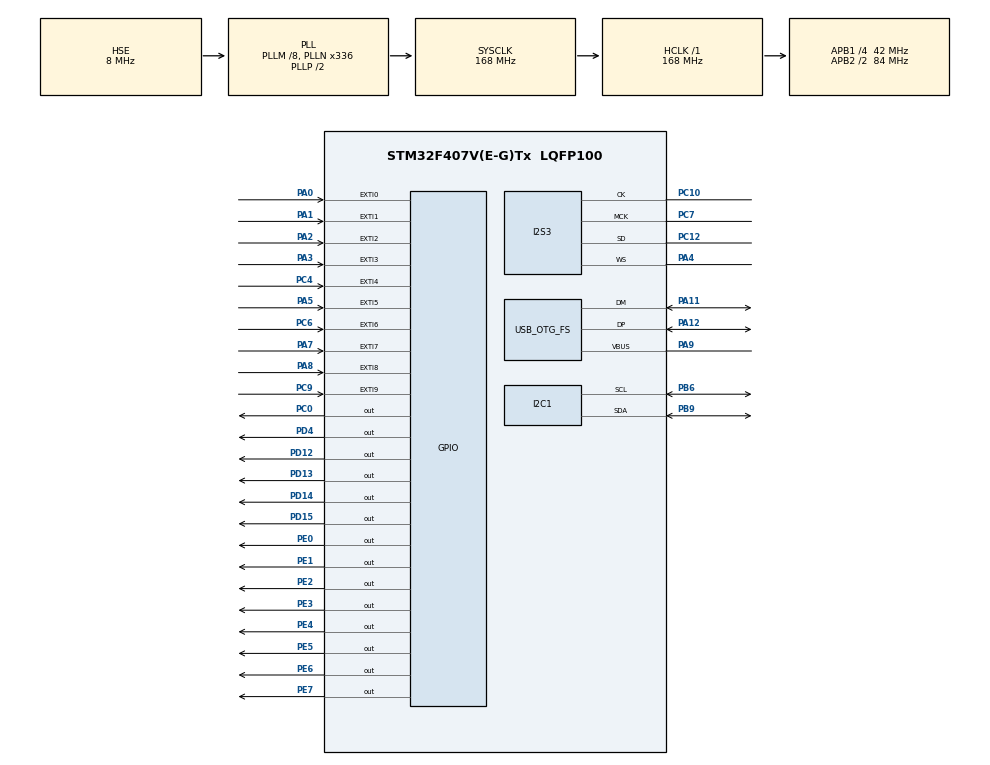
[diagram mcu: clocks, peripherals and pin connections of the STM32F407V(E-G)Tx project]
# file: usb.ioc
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Dma.Request0=SPI3_TX
Dma.SPI3_TX.0.Direction=DMA_MEMORY_TO_PERIPH
Dma.SPI3_TX.0.FIFOMode=DMA_FIFOMODE_ENABLE
Dma.SPI3_TX.0.FIFOThreshold=DMA_FIFO_THRESHOLD_FULL
Dma.SPI3_TX.0.Instance=DMA1_Stream5
Dma.SPI3_TX.0.MemBurst=DMA_MBURST_SINGLE
Dma.SPI3_TX.0.MemDataAlignment=DMA_MDATAALIGN_HALFWORD
Dma.SPI3_TX.0.MemInc=DMA_MINC_ENABLE
Dma.SPI3_TX.0.Mode=DMA_CIRCULAR
Dma.SPI3_TX.0.PeriphBurst=DMA_PBURST_SINGLE
Dma.SPI3_TX.0.PeriphDataAlignment=DMA_PDATAALIGN_HALFWORD
Dma.SPI3_TX.0.PeriphInc=DMA_PINC_DISABLE
Dma.SPI3_TX.0.Priority=DMA_PRIORITY_LOW
FATFS._FS_EXFAT=1
FATFS._MAX_SS=4096
FATFS._USE_LFN=1
I2S3.AudioFreq=I2S_AUDIOFREQ_44K
I2S3.ErrorAudioFreq=0.24 %
I2S3.FullDuplexMode=I2S_FULLDUPLEXMODE_DISABLE
I2S3.Instance=SPI$Index
I2S3.RealAudioFreq=44.108 KHz
I2S3.VirtualMode=I2S_MODE_MASTER
Mcu.Family=STM32F4
Mcu.Name=STM32F407V(E-G)Tx
Mcu.Package=LQFP100
NVIC.DMA1_Stream5_IRQn=true\:0\:0\:false\:false\:true\:false\:true\:true
NVIC.EXTI0_IRQn=true\:0\:0\:false\:false\:true\:true\:true\:true
NVIC.EXTI1_IRQn=true\:0\:0\:false\:false\:true\:true\:true\:true
NVIC.EXTI2_IRQn=true\:0\:0\:false\:false\:true\:true\:true\:true
NVIC.EXTI3_IRQn=true\:0\:0\:false\:false\:true\:true\:true\:true
NVIC.EXTI4_IRQn=true\:0\:0\:false\:false\:true\:true\:true\:true
NVIC.EXTI9_5_IRQn=true\:0\:0\:false\:false\:true\:true\:true\:true
NVIC.OTG_FS_IRQn=true\:0\:0\:false\:false\:true\:false\:true\:true
NVIC.PriorityGroup=NVIC_PRIORITYGROUP_4
NVIC.TIM6_DAC_IRQn=true\:0\:0\:false\:false\:true\:true\:true\:true
PA0-WKUP.GPIO_PuPd=GPIO_NOPULL
PA0-WKUP.Signal=GPXTI0
PA1.GPIO_PuPd=GPIO_PULLDOWN
PA1.Signal=GPXTI1
PA11.Mode=Host_Only
PA11.Signal=USB_OTG_FS_DM
PA12.Mode=Host_Only
PA12.Signal=USB_OTG_FS_DP
PA13.Mode=Trace_Asynchronous_SW
PA13.Signal=SYS_JTMS-SWDIO
PA14.Mode=Trace_Asynchronous_SW
PA14.Signal=SYS_JTCK-SWCLK
PA2.GPIO_PuPd=GPIO_PULLDOWN
PA2.Signal=GPXTI2
PA3.GPIO_PuPd=GPIO_PULLDOWN
PA3.Signal=GPXTI3
PA4.Mode=Half_Duplex_Master
PA4.Signal=I2S3_WS
PA5.GPIO_PuPd=GPIO_PULLDOWN
PA5.Signal=GPXTI5
PA7.GPIO_PuPd=GPIO_PULLDOWN
PA7.Signal=GPXTI7
PA8.GPIO_PuPd=GPIO_PULLDOWN
PA8.Signal=GPXTI8
PA9.Mode=Activate_VBUS
PA9.Signal=USB_OTG_FS_VBUS
PB3.Mode=Trace_Asynchronous_SW
PB3.Signal=SYS_JTDO-SWO
PB6.Mode=I2C
PB6.Signal=I2C1_SCL
PB9.Mode=I2C
PB9.Signal=I2C1_SDA
PC0.Signal=GPIO_Output
PC10.Mode=Half_Duplex_Master
PC10.Signal=I2S3_CK
PC12.Mode=Half_Duplex_Master
PC12.Signal=I2S3_SD
PC4.GPIO_PuPd=GPIO_PULLDOWN
PC4.Signal=GPXTI4
PC6.GPIO_PuPd=GPIO_PULLDOWN
PC6.Signal=GPXTI6
PC7.Mode=Master_Clock_Activated
PC7.Signal=I2S3_MCK
PC9.GPIO_PuPd=GPIO_PULLDOWN
PC9.Signal=GPXTI9
PD12.Signal=GPIO_Output
PD13.Signal=GPIO_Output
PD14.Signal=GPIO_Output
PD15.Signal=GPIO_Output
PD4.Signal=GPIO_Output
PE0.Signal=GPIO_Output
PE1.Signal=GPIO_Output
PE2.Signal=GPIO_Output
PE3.Signal=GPIO_Output
PE4.Signal=GPIO_Output
PE5.Signal=GPIO_Output
PE6.Signal=GPIO_Output
PE7.Signal=GPIO_Output
PH0-OSC_IN.Mode=HSE-External-Oscillator
PH0-OSC_IN.Signal=RCC_OSC_IN
PH1-OSC_OUT.Mode=HSE-External-Oscillator
PH1-OSC_OUT.Signal=RCC_OSC_OUT
ProjectManager.HeapSize=0x2000
ProjectManager.StackSize=0x2000
ProjectManager.TargetToolchain=STM32CubeIDE
RCC.48MHZClocksFreq_Value=48000000
RCC.AHBFreq_Value=168000000
RCC.APB1CLKDivider=RCC_HCLK_DIV4
RCC.APB1Freq_Value=42000000
RCC.APB1TimFreq_Value=84000000
RCC.APB2CLKDivider=RCC_HCLK_DIV2
RCC.APB2Freq_Value=84000000
RCC.APB2TimFreq_Value=168000000
RCC.CortexFreq_Value=168000000
RCC.HCLKFreq_Value=168000000
RCC.HSE_VALUE=8000000
RCC.HSI_VALUE=16000000
RCC.LSE_VALUE=32768
RCC.PLLI2SN=271
RCC.PLLI2SR=6
RCC.PLLM=8
RCC.PLLN=336
RCC.PLLQ=7
RCC.SYSCLKFreq_VALUE=168000000
RCC.SYSCLKSource=RCC_SYSCLKSOURCE_PLLCLK
RCC.VCOOutputFreq_Value=336000000
TIM6.Period=65535
TIM6.Prescaler=600
USB_HOST.USBH_HandleTypeDef-MSC_FS=hUsbHostFS
USB_HOST.VirtualModeFS=Msc
USB_OTG_FS.VirtualMode=Host_Only
USB_OTG_FS.phy_itface=HCD_PHY_EMBEDDED
VP_FATFS_VS_USB.Mode=USB
VP_TIM6_VS_ClockSourceINT.Mode=Enable_Timer
VP_USB_HOST_VS_USB_HOST_MSC_FS.Mode=MSC_FS
board=custom

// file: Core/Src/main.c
/* USER CODE BEGIN Header */
/**
  ******************************************************************************
  * @file           : main.c
  * @brief          : Main program body
  ******************************************************************************
  * @attention
  *
  * Copyright (c) 2023 STMicroelectronics.
  * All rights reserved.
  *
  * This software is licensed under terms that can be found in the LICENSE file
  * in the root directory of this software component.
  * If no LICENSE file comes with this software, it is provided AS-IS.
  *
  ******************************************************************************
  */
/* USER CODE END Header */
#include "main.h"
#include "fatfs.h"
#include "usb_host.h"

/* USER CODE BEGIN Includes */
#include "audioI2S.h"
#include "MY_CS43L22.h"
#include "wav_player.h"
#include "usbh_core.h"
#include "File_Handling.h"
/* USER CODE END Includes */

/* USER CODE BEGIN PTD */
extern ApplicationTypeDef Appli_state;
/* USER CODE END PTD */

I2C_HandleTypeDef hi2c1;

I2S_HandleTypeDef hi2s3;
DMA_HandleTypeDef hdma_spi3_tx;

TIM_HandleTypeDef htim6;

/* USER CODE BEGIN PV */
#define Nsounds 8
#define Ninstrements 3
/* USER CODE END PV */

void SystemClock_Config(void);
static void MX_GPIO_Init(void);
static void MX_DMA_Init(void);
static void MX_I2C1_Init(void);
static void MX_I2S3_Init(void);
static void MX_TIM6_Init(void);
void MX_USB_HOST_Process(void);

/* USER CODE BEGIN PFP */
int key=-1;
bool clickToggle=0;
bool lastClickToggle=0;

FIL myFile;   //open file ( &myfile c'est le pointeur de fichier)
FRESULT res;	// file operations
UINT byteswritten, bytesread;  // to know how much bytes we have read or write
char wtext[100];   // temporary buffer to store data we write
char rtext[200];
char headerText[100];   //  temporary buffer to store data we read
char bodyText[100];
char instrements[Ninstrements][20]={"piano","trumpet","animals"};
int instrement=0;
int rIndex=0;
uint16_t pinLed[Nsounds]={GPIO_PIN_0,
		GPIO_PIN_1,
		GPIO_PIN_2,
		GPIO_PIN_3,
		GPIO_PIN_4,
		GPIO_PIN_5,
		GPIO_PIN_6,
		GPIO_PIN_7,
		};
char list[100];
int mode =0; //0 noraml mode | 1 learning mode | 2 recording mode,
int lastMode=0;
char *primarySoundFileName(int i){
	char fileName[100];
	sprintf(fileName,"%s/%d.wav",instrements[instrement],i);
    char* reslt =(char*) malloc(strlen(fileName)*sizeof(char));
    strcpy(reslt,fileName);
	return reslt ;
};

int _write(int file, char *ptr, int len){
	for(int i =0; i < len; i++){
		ITM_SendChar(*ptr++);
	}
	return len;
}

void setClickToggle(){
	clickToggle=!clickToggle;
}

void changeInstrement(){
	instrement++;
	instrement%=Ninstrements;
}
void blinkLeds(){
	for (int i=0;i<Nsounds;i++){
		HAL_GPIO_WritePin(GPIOE, pinLed[i], i==key);
	}
}

void setKey(int i){
	key=i;
	setClickToggle();
	blinkLeds();
}
void updateSetKey(){
	key++;
	key%=8;
	setClickToggle();
}
void readNewKey(){
	if(rIndex==strlen(bodyText)){
//		HAL_TIM_Base_Stop_IT(&htim6);
		rIndex=0;
//		mode=0;
		return ;
	}
	setKey((int) bodyText[rIndex]-48);
	printf("%d_",key);
	rIndex++;

}

/* USER CODE END PFP */

/* USER CODE BEGIN 0 */

bool UsbFile_Write(char fileName[],char text[])
{
	//Open/Create file for Writing
	if(f_open(&myFile, fileName, FA_CREATE_ALWAYS | FA_WRITE) != FR_OK)
	{
		return 0; //error
	}
	else
	{
		//Set text string to write to file
//		sprintf(wtext, "Hello world 2sss22 !");
		//write to file
		res = f_write(&myFile, (uint8_t *)text, strlen(text), &byteswritten);
		if((byteswritten == 0) || (res != FR_OK))
		{
			return 0; //error
		}
	}

	//Close file
	f_close(&myFile);
	return 1; //success
}

void bodyHeaderFile(){

	int index =0;
	for(int i=0;i<strlen(rtext);i++){
		if(rtext[i]=='\n'){
			index=i+1;
			continue;
		}
		if(index==0){
			headerText[i]=rtext[i];
		}
		else{
			bodyText[i-index]=rtext[i];
		}
	}
	printf("head:%s",headerText);
	printf("body:%s,",bodyText);
	printf("rtext:%s,",rtext);
}

bool UsbFile_Read(char fileName[])
{

	//Open file for Reading
	if(f_open(&myFile, fileName, FA_READ) != FR_OK)
	{
		return 0; //error
	}
	else
	{	//Read text from files until NULL
		for(uint8_t i=0; i<100; i++)
		{
			res = f_read(&myFile, (uint8_t*)&rtext[i], 1, &bytesread);
			if(rtext[i] == 0x00)
			{
				bytesread = i;
				break;
			}
		}
		//Reading error handling
		if(bytesread==0) return 0;
	}

	//Close file
	f_close(&myFile);
	bodyHeaderFile();
	return 1; //success
}

void changeMode(){
mode++;
mode%=3;

}

/* USER CODE END 0 */

int main(void)
{

  /* MCU Configuration--------------------------------------------------------*/

  /* Reset of all peripherals, Initializes the Flash interface and the Systick. */
  HAL_Init();

  /* Configure the system clock */
  SystemClock_Config();

  /* Initialize all configured peripherals */
  MX_GPIO_Init();
  MX_DMA_Init();
  MX_I2C1_Init();
  MX_I2S3_Init();
  MX_FATFS_Init();
  MX_USB_HOST_Init();
  MX_TIM6_Init();
  /* USER CODE BEGIN 2 */
  CS43_Init(hi2c1, MODE_I2S);
  CS43_SetVolume(220);
  CS43_Enable_RightLeft(CS43_RIGHT_LEFT);

  audioI2S_setHandle(&hi2s3);
  bool isSdCardMounted=0;

  /* USER CODE END 2 */

  /* Infinite loop */
  while (1)
  {
    MX_USB_HOST_Process();

    /* USER CODE BEGIN 3 */
    if(Appli_state==APPLICATION_START){
    	HAL_GPIO_WritePin(GPIOD,GPIO_PIN_12, GPIO_PIN_SET);
    }else if(Appli_state==APPLICATION_DISCONNECT){
    	HAL_GPIO_WritePin(GPIOD,GPIO_PIN_12, GPIO_PIN_RESET);
    }
    if(Appli_state==APPLICATION_READY){
    	if(!isSdCardMounted){
    	f_mount(&USBHFatFS,(const TCHAR*)USBHPath,0);

    	}
if(lastMode!=mode){
	lastMode=mode;
	switch(mode){
	case 0:HAL_GPIO_TogglePin(GPIOD, GPIO_PIN_15);break;
	case 1:
		UsbFile_Read("twinkle.txt");
		HAL_TIM_Base_Start_IT(&htim6);rIndex=0;
		break;
	case 2:
		HAL_GPIO_TogglePin(GPIOD, GPIO_PIN_12);
		HAL_TIM_Base_Stop_IT(&htim6);
		break;
	}
}
    	lastClickToggle=clickToggle;
    	if(lastMode!=mode){
    		lastMode=mode;
    	}
    	if(key==-1||key==8){
continue;
    	}else{
    		printf("%s\n",primarySoundFileName(key));
    		if(!wavPlayer_fileSelect(primarySoundFileName(key))){
    			printf("\terror\t");
    			continue;
    		}

    		wavPlayer_play();
    		while(!wavPlayer_isFinished()&&clickToggle==lastClickToggle){
    		wavPlayer_process();
    		}
    		key=clickToggle==lastClickToggle?-1:key;
    		wavPlayer_stop();

    	}}
    }
  HAL_GPIO_WritePin(GPIOD,GPIO_PIN_12, GPIO_PIN_RESET);
  /* USER CODE END 3 */
}

void SystemClock_Config(void)
{
  RCC_OscInitTypeDef RCC_OscInitStruct = {0};
  RCC_ClkInitTypeDef RCC_ClkInitStruct = {0};

  /** Configure the main internal regulator output voltage
  */
  __HAL_RCC_PWR_CLK_ENABLE();
  __HAL_PWR_VOLTAGESCALING_CONFIG(PWR_REGULATOR_VOLTAGE_SCALE1);

  /** Initializes the RCC Oscillators according to the specified parameters
  * in the RCC_OscInitTypeDef structure.
  */
  RCC_OscInitStruct.OscillatorType = RCC_OSCILLATORTYPE_HSE;
  RCC_OscInitStruct.HSEState = RCC_HSE_ON;
  RCC_OscInitStruct.PLL.PLLState = RCC_PLL_ON;
  RCC_OscInitStruct.PLL.PLLSource = RCC_PLLSOURCE_HSE;
  RCC_OscInitStruct.PLL.PLLM = 8;
  RCC_OscInitStruct.PLL.PLLN = 336;
  RCC_OscInitStruct.PLL.PLLP = RCC_PLLP_DIV2;
  RCC_OscInitStruct.PLL.PLLQ = 7;
  if (HAL_RCC_OscConfig(&RCC_OscInitStruct) != HAL_OK)
  {
    Error_Handler();
  }

  /** Initializes the CPU, AHB and APB buses clocks
  */
  RCC_ClkInitStruct.ClockType = RCC_CLOCKTYPE_HCLK|RCC_CLOCKTYPE_SYSCLK
                              |RCC_CLOCKTYPE_PCLK1|RCC_CLOCKTYPE_PCLK2;
  RCC_ClkInitStruct.SYSCLKSource = RCC_SYSCLKSOURCE_PLLCLK;
  RCC_ClkInitStruct.AHBCLKDivider = RCC_SYSCLK_DIV1;
  RCC_ClkInitStruct.APB1CLKDivider = RCC_HCLK_DIV4;
  RCC_ClkInitStruct.APB2CLKDivider = RCC_HCLK_DIV2;

  if (HAL_RCC_ClockConfig(&RCC_ClkInitStruct, FLASH_LATENCY_5) != HAL_OK)
  {
    Error_Handler();
  }
}

static void MX_I2C1_Init(void)
{

  hi2c1.Instance = I2C1;
  hi2c1.Init.ClockSpeed = 100000;
  hi2c1.Init.DutyCycle = I2C_DUTYCYCLE_2;
  hi2c1.Init.OwnAddress1 = 0;
  hi2c1.Init.AddressingMode = I2C_ADDRESSINGMODE_7BIT;
  hi2c1.Init.DualAddressMode = I2C_DUALADDRESS_DISABLE;
  hi2c1.Init.OwnAddress2 = 0;
  hi2c1.Init.GeneralCallMode = I2C_GENERALCALL_DISABLE;
  hi2c1.Init.NoStretchMode = I2C_NOSTRETCH_DISABLE;
  if (HAL_I2C_Init(&hi2c1) != HAL_OK)
  {
    Error_Handler();
  }

}

static void MX_I2S3_Init(void)
{

  hi2s3.Instance = SPI3;
  hi2s3.Init.Mode = I2S_MODE_MASTER_TX;
  hi2s3.Init.Standard = I2S_STANDARD_PHILIPS;
  hi2s3.Init.DataFormat = I2S_DATAFORMAT_16B;
  hi2s3.Init.MCLKOutput = I2S_MCLKOUTPUT_ENABLE;
  hi2s3.Init.AudioFreq = I2S_AUDIOFREQ_44K;
  hi2s3.Init.CPOL = I2S_CPOL_LOW;
  hi2s3.Init.ClockSource = I2S_CLOCK_PLL;
  hi2s3.Init.FullDuplexMode = I2S_FULLDUPLEXMODE_DISABLE;
  if (HAL_I2S_Init(&hi2s3) != HAL_OK)
  {
    Error_Handler();
  }

}

static void MX_TIM6_Init(void)
{

  TIM_MasterConfigTypeDef sMasterConfig = {0};

  htim6.Instance = TIM6;
  htim6.Init.Prescaler = 600;
  htim6.Init.CounterMode = TIM_COUNTERMODE_UP;
  htim6.Init.Period = 65535;
  htim6.Init.AutoReloadPreload = TIM_AUTORELOAD_PRELOAD_DISABLE;
  if (HAL_TIM_Base_Init(&htim6) != HAL_OK)
  {
    Error_Handler();
  }
  sMasterConfig.MasterOutputTrigger = TIM_TRGO_RESET;
  sMasterConfig.MasterSlaveMode = TIM_MASTERSLAVEMODE_DISABLE;
  if (HAL_TIMEx_MasterConfigSynchronization(&htim6, &sMasterConfig) != HAL_OK)
  {
    Error_Handler();
  }

}

static void MX_DMA_Init(void)
{

  /* DMA controller clock enable */
  __HAL_RCC_DMA1_CLK_ENABLE();

  /* DMA interrupt init */
  /* DMA1_Stream5_IRQn interrupt configuration */
  HAL_NVIC_SetPriority(DMA1_Stream5_IRQn, 0, 0);
  HAL_NVIC_EnableIRQ(DMA1_Stream5_IRQn);

}

static void MX_GPIO_Init(void)
{
  GPIO_InitTypeDef GPIO_InitStruct = {0};

  /* GPIO Ports Clock Enable */
  __HAL_RCC_GPIOE_CLK_ENABLE();
  __HAL_RCC_GPIOH_CLK_ENABLE();
  __HAL_RCC_GPIOC_CLK_ENABLE();
  __HAL_RCC_GPIOA_CLK_ENABLE();
  __HAL_RCC_GPIOD_CLK_ENABLE();
  __HAL_RCC_GPIOB_CLK_ENABLE();

  /*Configure GPIO pin Output Level */
  HAL_GPIO_WritePin(GPIOE, GPIO_PIN_2|GPIO_PIN_3|GPIO_PIN_4|GPIO_PIN_5
                          |GPIO_PIN_6|GPIO_PIN_7|GPIO_PIN_0|GPIO_PIN_1, GPIO_PIN_RESET);

  /*Configure GPIO pin Output Level */
  HAL_GPIO_WritePin(GPIOC, GPIO_PIN_0, GPIO_PIN_RESET);

  /*Configure GPIO pin Output Level */
  HAL_GPIO_WritePin(GPIOD, GPIO_PIN_12|GPIO_PIN_13|GPIO_PIN_14|GPIO_PIN_15
                          |GPIO_PIN_4, GPIO_PIN_RESET);

  /*Configure GPIO pins : PE2 PE3 PE4 PE5
                           PE6 PE7 PE0 PE1 */
  GPIO_InitStruct.Pin = GPIO_PIN_2|GPIO_PIN_3|GPIO_PIN_4|GPIO_PIN_5
                          |GPIO_PIN_6|GPIO_PIN_7|GPIO_PIN_0|GPIO_PIN_1;
  GPIO_InitStruct.Mode = GPIO_MODE_OUTPUT_PP;
  GPIO_InitStruct.Pull = GPIO_NOPULL;
  GPIO_InitStruct.Speed = GPIO_SPEED_FREQ_LOW;
  HAL_GPIO_Init(GPIOE, &GPIO_InitStruct);

  /*Configure GPIO pin : PC0 */
  GPIO_InitStruct.Pin = GPIO_PIN_0;
  GPIO_InitStruct.Mode = GPIO_MODE_OUTPUT_PP;
  GPIO_InitStruct.Pull = GPIO_NOPULL;
  GPIO_InitStruct.Speed = GPIO_SPEED_FREQ_LOW;
  HAL_GPIO_Init(GPIOC, &GPIO_InitStruct);

  /*Configure GPIO pin : PA0 */
  GPIO_InitStruct.Pin = GPIO_PIN_0;
  GPIO_InitStruct.Mode = GPIO_MODE_IT_RISING;
  GPIO_InitStruct.Pull = GPIO_NOPULL;
  HAL_GPIO_Init(GPIOA, &GPIO_InitStruct);

  /*Configure GPIO pins : PA1 PA2 PA3 PA5
                           PA7 PA8 */
  GPIO_InitStruct.Pin = GPIO_PIN_1|GPIO_PIN_2|GPIO_PIN_3|GPIO_PIN_5
                          |GPIO_PIN_7|GPIO_PIN_8;
  GPIO_InitStruct.Mode = GPIO_MODE_IT_RISING;
  GPIO_InitStruct.Pull = GPIO_PULLDOWN;
  HAL_GPIO_Init(GPIOA, &GPIO_InitStruct);

  /*Configure GPIO pins : PC4 PC6 PC9 */
  GPIO_InitStruct.Pin = GPIO_PIN_4|GPIO_PIN_6|GPIO_PIN_9;
  GPIO_InitStruct.Mode = GPIO_MODE_IT_RISING;
  GPIO_InitStruct.Pull = GPIO_PULLDOWN;
  HAL_GPIO_Init(GPIOC, &GPIO_InitStruct);

  /*Configure GPIO pins : PD12 PD13 PD14 PD15
                           PD4 */
  GPIO_InitStruct.Pin = GPIO_PIN_12|GPIO_PIN_13|GPIO_PIN_14|GPIO_PIN_15
                          |GPIO_PIN_4;
  GPIO_InitStruct.Mode = GPIO_MODE_OUTPUT_PP;
  GPIO_InitStruct.Pull = GPIO_NOPULL;
  GPIO_InitStruct.Speed = GPIO_SPEED_FREQ_LOW;
  HAL_GPIO_Init(GPIOD, &GPIO_InitStruct);

  /* EXTI interrupt init*/
  HAL_NVIC_SetPriority(EXTI0_IRQn, 0, 0);
  HAL_NVIC_EnableIRQ(EXTI0_IRQn);

  HAL_NVIC_SetPriority(EXTI1_IRQn, 0, 0);
  HAL_NVIC_EnableIRQ(EXTI1_IRQn);

  HAL_NVIC_SetPriority(EXTI2_IRQn, 0, 0);
  HAL_NVIC_EnableIRQ(EXTI2_IRQn);

  HAL_NVIC_SetPriority(EXTI3_IRQn, 0, 0);
  HAL_NVIC_EnableIRQ(EXTI3_IRQn);

  HAL_NVIC_SetPriority(EXTI4_IRQn, 0, 0);
  HAL_NVIC_EnableIRQ(EXTI4_IRQn);

  HAL_NVIC_SetPriority(EXTI9_5_IRQn, 0, 0);
  HAL_NVIC_EnableIRQ(EXTI9_5_IRQn);

}

void Error_Handler(void)
{
  __disable_irq();
  while (1)
  {
  }
}
